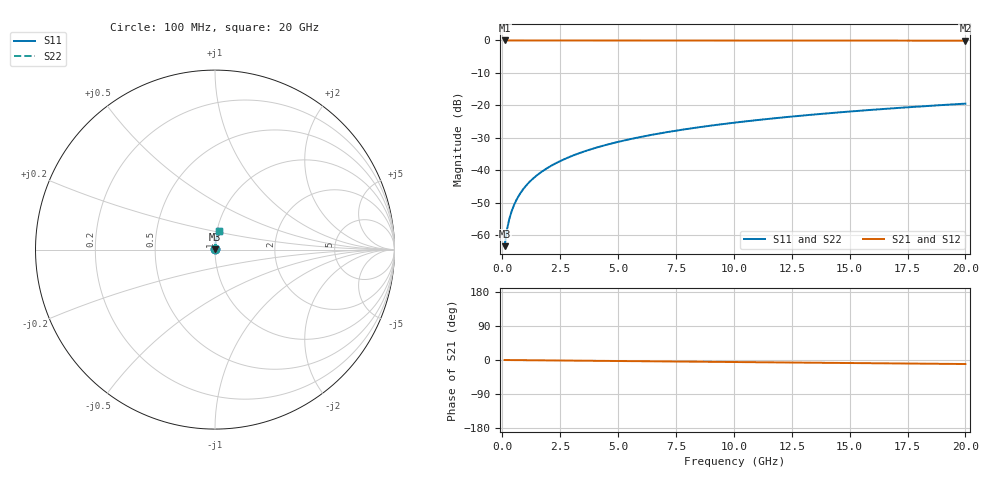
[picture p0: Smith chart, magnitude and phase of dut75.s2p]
! Touchstone file exported from HFSS 2026.1.0
!  File:  C:/ffzhzh/LocalFiles/Ansys_Project_Files/temp_train_TSV_75_1782959356_45748.aedt
!  Generated:  10:31:08 AM Jul  2, 2026
!  Design:  TSV
!  Project:  temp_train_TSV_75_1782959356_45748
! Variables:
!  h_bsmrdl = 2um
!  h_ox = 20um
!  h_rdl = 5um
!  h_sub = 80.65um
!  h_tmrdl = 5um
!  h_tsv = 80.65um
!  h_via = 3um
!  l_bsmrdl = 300um
!  l_sub = 410.54um
!  l_tmrdl = 200um
!  m_sub = 200um
!  pitch = 58.48um
!  r_tsv = 5.27um
!  s_tmrdl = 10um
!  w_bsmrdl = 18um
!  w_sub = 500um
!  w_tmrdl = 12um
!  x_tsv_center1 = 206um
!  x_tsv_center2 = 524um
!  x_tsv_center3 = 736um
!  x_tsv_center4 = 1054um
!  x_tsv_center5 = 1266um
!  x_tsv_center6 = 1584um
# GHz S MA R 50.000000
! Terminal data exported
! Port[1] = TSV1_1_T1
! Port[2] = TSV1_1_T2
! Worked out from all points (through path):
!   200 points, 100 MHz to 20 GHz, reference 50 ohm
!   highest |S21| = 0.00 dB at 100 MHz (marker M1); lowest = -0.1 dB at 20 GHz (marker M2)
!   group delay of S21, straight-line fit = 1.47 ps
!   lowest |S11| = -63.3 dB at 100 MHz (marker M3), VSWR 1.00, Z = 50 + j0.0579 ohm
!   |S11| at or under -10 dB: start of sweep to end of sweep
!   |S22| runs from -63.3 to -19.4 dB; largest |S21 - S12| = 3.2e-15
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0.1  0.0006834 57.9  0.9996 -0.1  0.9996 -0.1  0.0006834 57.9
! Gamma 0 0 0 0
! Port Impedance 50 0 50 0
0.2  0.001214 72.1  0.9996 -0.1  0.9996 -0.1  0.001214 72.1
0.3  0.001773 77.3  0.9996 -0.2  0.9996 -0.2  0.001773 77.3
0.4  0.002336 80.0  0.9996 -0.2  0.9996 -0.2  0.002336 80.0
0.5  0.002898 81.5  0.9996 -0.3  0.9996 -0.3  0.002898 81.5
0.7  0.004018 83.2  0.9995 -0.4  0.9995 -0.4  0.004018 83.2
0.8  0.004574 83.7  0.9995 -0.4  0.9995 -0.4  0.004574 83.7
1  0.005684 84.4  0.9995 -0.5  0.9995 -0.5  0.005684 84.4
1.2  0.006789 84.9  0.9994 -0.7  0.9994 -0.7  0.006789 84.9
1.4  0.007892 85.2  0.9994 -0.8  0.9994 -0.8  0.007892 85.2
1.7  0.009544 85.5  0.9993 -0.9  0.9993 -0.9  0.009544 85.5
2  0.01119 85.7  0.9993 -1.1  0.9993 -1.1  0.01119 85.7
2.7  0.01503 85.8  0.9992 -1.5  0.9992 -1.5  0.01503 85.8
3.5  0.01938 85.6  0.999 -1.9  0.999 -1.9  0.01938 85.6
4.2  0.02318 85.5  0.9988 -2.3  0.9988 -2.3  0.02318 85.5
5  0.0275 85.2  0.9986 -2.7  0.9986 -2.7  0.0275 85.2
6.8  0.03715 84.5  0.9981 -3.7  0.9981 -3.7  0.03715 84.5
8.3  0.04516 83.9  0.9977 -4.5  0.9977 -4.5  0.04516 83.9
10.1  0.05473 83.1  0.997 -5.4  0.997 -5.4  0.05473 83.1
13.4  0.07218 81.5  0.9957 -7.1  0.9957 -7.1  0.07218 81.5
16.7  0.08948 79.9  0.9942 -8.9  0.9942 -8.9  0.08948 79.9
20  0.1066 78.3  0.9923 -10.6  0.9923 -10.6  0.1066 78.3
